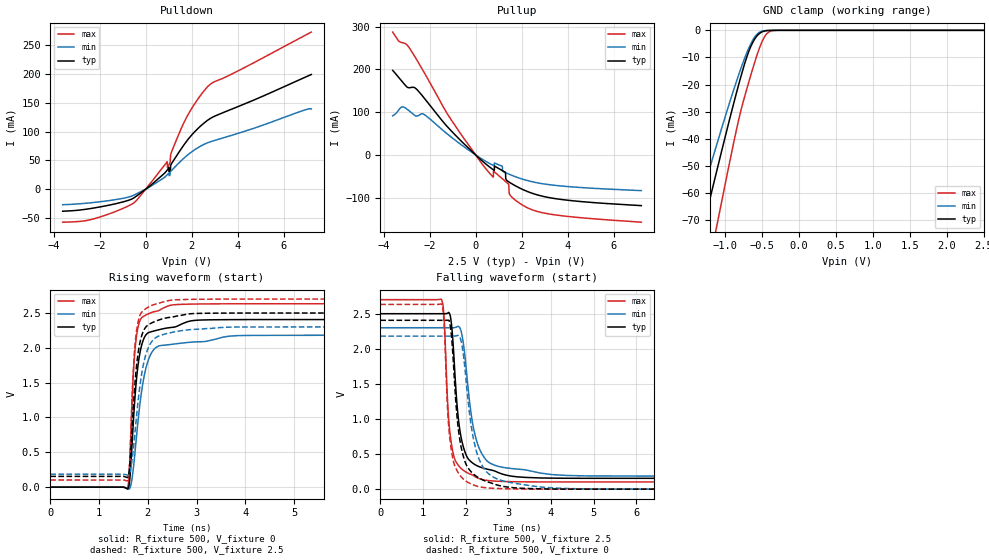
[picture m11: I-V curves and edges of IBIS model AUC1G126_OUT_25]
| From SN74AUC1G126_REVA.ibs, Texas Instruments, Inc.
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[Model]   AUC1G126_OUT_25
Model_type  3-state
Enable   Active-Low
Vref =   0
Rref =   500
Cref =   30p
Vmeas =   1.25
| variable   typ   min   max
C_comp   5.33pF   4.73pF   9.28pF
| C_pullup   5.13pF   1.25pF   10.31pF
| C_pulldown   6.36pF   5.24pF   10.84pF
| C_tri-state   5.33pF   4.73pF   9.28pF
[Temperature Range]   40   100   -40
| Ambient temperature   25   85   -40
[Voltage range]   2.5   2.3   2.7
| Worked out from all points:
|   slope of the pulldown table from 0 to 0.375 V, typ, clamps not added: 31 ohm
|   slope of the pullup table from 0 to 0.375 V, typ, clamps not added: 20.5 ohm
|   GND clamp passes 1 mA (typ) near -0.53 V on its own axis
|   rising waveform, R_fixture 500, V_fixture 0: 20-80 % time 172ps typ, 246ps min, 117ps max; typ from 0 V to 2.41 V
|   falling waveform, R_fixture 500, V_fixture 2.5: 20-80 % time 226ps typ, 314ps min, 158ps max; typ from 2.5 V to 0.154 V
|   rising waveform, R_fixture 500, V_fixture 2.5: 20-80 % time 166ps typ, 237ps min, 115ps max; typ from 0.154 V to 2.5 V
|   falling waveform, R_fixture 500, V_fixture 0: 20-80 % time 240ps typ, 330ps min, 159ps max; typ from 2.41 V to 0 V
[GND Clamp]
| AUC1G126_OUT_25
|   Voltage   I(typ)   I(min)   I(max)
-3.6V     -338.8mA   -286.3mA   -409.7mA
-1.46V    -91.16mA   -74.57mA   -119.8mA
-1.405V   -84.88mA   -69.34mA   -112.3mA
-1.295V   -72.37mA   -58.98mA   -97.21mA
-1.105V   -51.02mA   -41.44mA   -71.2mA
-850mV    -23.5mA    -19.16mA   -37.2mA
-720mV    -11.03mA   -9.221mA   -22.98mA
-625mV    -4.427mA   -3.594mA   -14.1mA
-515mV    -798.9uA   -467.4uA   -5.165mA
-430mV    -104.6uA   -59.7uA    -1.117mA
-325mV    -4.909uA   -3.982uA   -43.96uA
2.5V      659.9pA    146.5nA    950.8pA
[Pulldown]
| AUC1G126_OUT_25
|   Voltage   I(typ)   I(min)   I(max)
-3.6V     -38.1mA    -26.84mA   -57.15mA
-2.265V   -32.66mA   -22.99mA   -51.47mA
-500mV    -14.73mA   -10.06mA   -23.37mA
935mV     33.03mA    24.75mA    47.68mA
955mV     34.13mA    25.53mA    37.94mA
1.065V    33.03mA    28.38mA    46.38mA
1.085V    39.24mA    30.78mA    58.06mA
1.13V     44.59mA    32.65mA    64.73mA
1.715V    79.6mA     55.64mA    119.6mA
2.215V    103mA      70.63mA    153.2mA
2.74V     120.9mA    81.29mA    179.6mA
7.2V      199.1mA    139.4mA    272.6mA
[Pullup]
| AUC1G126_OUT_25
|   Voltage   I(typ)   I(min)   I(max)
-3.6V     197.6mA    91.49mA    287.3mA
-3.175V   170.6mA    112.3mA    262.4mA
-2.26V    134.7mA    95.27mA    195.2mA
130mV     -6.61mA    -4.719mA   -10.01mA
760mV     -34.41mA   -24.35mA   -52mA
780mV     -35.18mA   -24.89mA   -38.09mA
1.295V    -40.95mA   -41.44mA   -61.97mA
1.425V    -62.57mA   -44.53mA   -67.93mA
1.475V    -64.28mA   -45.68mA   -91.92mA
1.755V    -73.11mA   -51.6mA    -107.1mA
3.17V     -99.72mA   -69.51mA   -138.1mA
7.2V      -118.8mA   -83.67mA   -157.5mA
[Ramp]
| AUC1G126_OUT_25
| variable   typ   min   max
dV/dt_r   1.46/1.73E-10   1.33/2.51E-10   1.59/1.18E-10
dV/dt_f   1.42/2.27E-10   1.28/3.16E-10   1.56/1.60E-10
R_load = 500
[Rising Waveform]
| AUC1G126_OUT_25
R_fixture =   500
C_fixture =   0
L_fixture =   0
V_fixture =   0
V_fixture_min = 0
V_fixture_max = 0
|   Time   V(typ)   V(min)   V(max)
0s        8.893nV    25.79nV    1.835nV
1.575ns   -21.84mV   -20.75mV   -16.12mV
1.62ns    46.26mV    -23.12mV   197.1mV
1.72ns    1.113V     372.5mV    1.809V
1.81ns    1.8V       1.012V     2.326V
1.92ns    2.134V     1.574V     2.454V
2.05ns    2.227V     1.891V     2.499V
2.52ns    2.295V     2.053V     2.617V
4.215ns   2.406V     2.179V     2.632V
34.99ns   2.406V     2.18V      2.632V
[Falling Waveform]
| AUC1G126_OUT_25
R_fixture =   500
C_fixture =   0
L_fixture =   0
V_fixture =   2.5
V_fixture_min = 2.3
V_fixture_max = 2.7
|   Time   V(typ)   V(min)   V(max)
0s        2.5V       2.3V       2.7V
1.43ns    2.5V       2.3V       2.708V
1.495ns   2.5V       2.3V       2.444V
1.635ns   2.483V     2.3V       791.1mV
1.725ns   1.9V       2.3V       469.1mV
1.825ns   1.034V     2.32V      343.2mV
1.955ns   586.4mV    2.043V     264.8mV
2.19ns    360.9mV    855mV      191.1mV
2.51ns    284.1mV    397mV      123.4mV
34.99ns   154.5mV    186.3mV    102.6mV
[Rising Waveform]
| AUC1G126_OUT_25
R_fixture =   500
C_fixture =   0
L_fixture =   0
V_fixture =   2.5
V_fixture_min = 2.3
V_fixture_max = 2.7
|   Time   V(typ)   V(min)   V(max)
0s        154.5mV    186.3mV    102.6mV
1.585ns   137.4mV    172.9mV    88.55mV
1.625ns   272.9mV    203.6mV    322.6mV
1.69ns    991.5mV    456.7mV    1.47V
1.72ns    1.329V     654.9mV    1.867V
1.81ns    1.963V     1.287V     2.399V
1.91ns    2.24V      1.759V     2.535V
2.035ns   2.341V     2.037V     2.594V
2.49ns    2.442V     2.221V     2.685V
34.99ns   2.5V       2.3V       2.7V
[Falling Waveform]
| AUC1G126_OUT_25
R_fixture =   500
C_fixture =   0
L_fixture =   0
V_fixture =   0
V_fixture_min = 0
V_fixture_max = 0
|   Time   V(typ)   V(min)   V(max)
0s        2.406V     2.18V      2.632V
1.43ns    2.405V     2.18V      2.639V
1.495ns   2.405V     2.18V      2.363V
1.615ns   2.399V     2.18V      814.1mV
1.715ns   1.791V     2.18V      395.6mV
1.815ns   936.4mV    2.189V     246mV
1.935ns   494.8mV    1.974V     150.6mV
2.165ns   225.4mV    775.9mV    65.08mV
2.44ns    121.4mV    283mV      22.2mV
34.99ns   1.858uV    -1.056uV   835.3nV
